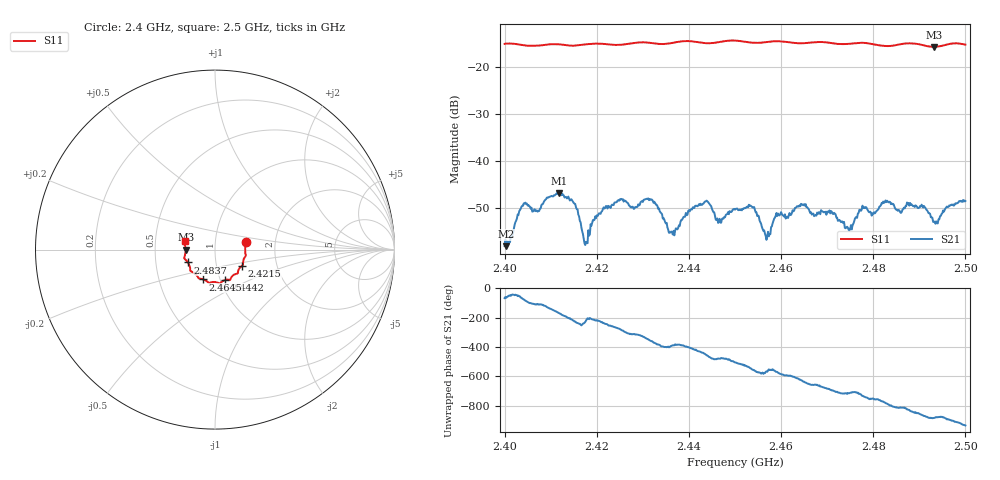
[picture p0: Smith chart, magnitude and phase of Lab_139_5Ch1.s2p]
# Hz S RI R 50
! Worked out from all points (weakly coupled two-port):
!   601 points, 2.4 GHz to 2.5 GHz, reference 50 ohm
!   highest |S21| = -46.71 dB at 2.4118 GHz (marker M1); lowest = -58.0 dB at 2.4003 GHz (marker M2)
!   lowest |S11| = -15.7 dB at 2.4932 GHz (marker M3), VSWR 1.39, Z = 36 - j0.0514 ohm
!   |S11| at or under -10 dB: start of sweep to end of sweep
!   S12 and S22 are empty: the file has one direction only
!   S11 on the Smith chart (normalised r, x): 2.4 GHz: 1.41, +0.12; 2.4215 GHz: 1.33, -0.25; 2.4442 GHz: 1.05, -0.37; 2.4645 GHz: 0.83, -0.29; 2.4837 GHz: 0.73, -0.11; 2.5 GHz: 0.71, +0.07
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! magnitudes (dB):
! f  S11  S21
! 2.4 GHz  -15.1  -58.0
! 2.4003 GHz  -15.0  -58.0
! 2.404 GHz  -15.4  -49.4
! 2.4118 GHz  -15.2  -46.7
! 2.415 GHz  -15.5  -48.8
! 2.4167 GHz  -15.3  -54.1
! 2.4178 GHz  -15.2  -57.2
! 2.4215 GHz  -15.1  -49.8
! 2.4333 GHz  -15.1  -50.1
! 2.4363 GHz  -14.9  -55.0
! 2.4442 GHz  -15.0  -48.7
! 2.4465 GHz  -14.7  -52.7
! 2.45 GHz  -14.4  -50.3
! 2.4537 GHz  -14.8  -49.6
! 2.4572 GHz  -14.7  -55.0
! 2.4645 GHz  -15.0  -49.1
! 2.4667 GHz  -14.8  -51.3
! 2.4748 GHz  -15.1  -54.7
! 2.4833 GHz  -15.6  -48.7
! 2.4837 GHz  -15.5  -48.6
! 2.4932 GHz  -15.7  -52.8
! 2.5 GHz  -15.3  -48.4
